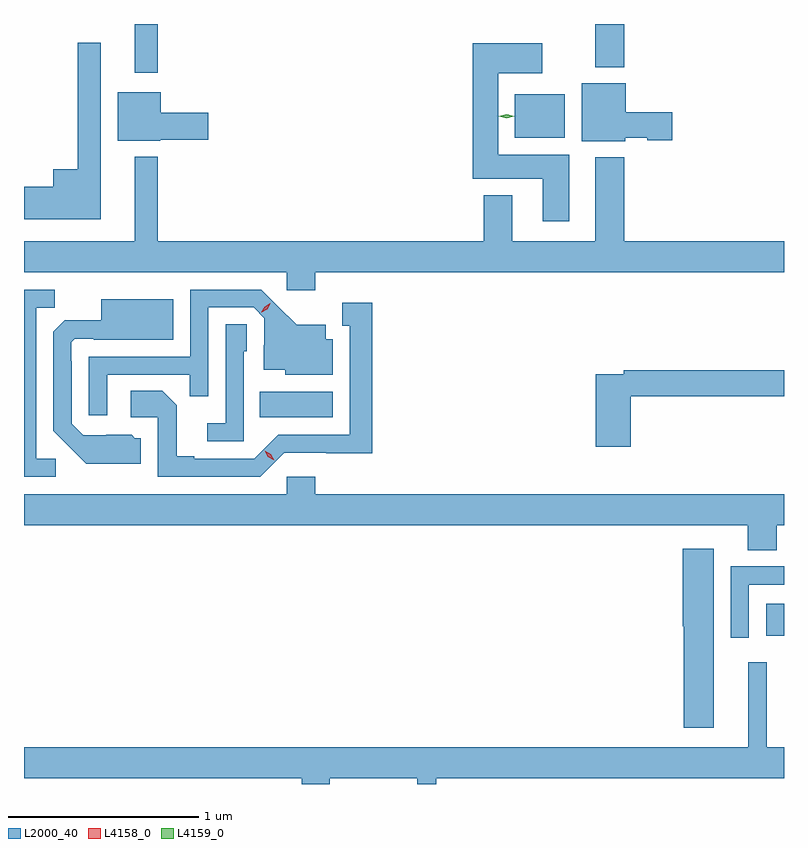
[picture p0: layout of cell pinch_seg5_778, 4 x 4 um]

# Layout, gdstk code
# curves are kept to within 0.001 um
import gdstk
lib = gdstk.Library(unit=1e-6, precision=1e-09)
def R(c, l, rs):  # rectangles x0, y0, x1, y1
    for r in rs: c.add(gdstk.rectangle(r[:2], r[2:], *l))
def P(c, l, *ps):  # polygons
    for p in ps: c.add(gdstk.Polygon(p, *l))
L2000_40 = (2000, 40)
L4158_0 = (4158, 0)
L4159_0 = (4159, 0)

pinch_seg5_778 = lib.new_cell('pinch_seg5_778')
R(pinch_seg5_778, L2000_40, [(796.265,906.794,796.358,906.964), (793.6,907.946,793.984,908.08), (794.942,909.416,795.205,909.646), (792.941,909.759,793.063,910.015), (795.365,909.788,795.518,910.015)])
P(pinch_seg5_778, L2000_40, [(792.763,909.916),(792.642,909.916),(792.642,909.25),(792.512,909.25),(792.512,909.158),(792.358,909.158),(792.358,908.987),(792.763,908.987)],
  [(795.229,909.328),(794.854,909.328),(794.854,909.755),(795.085,909.755),(795.085,909.913),(794.72,909.913),(794.72,909.2),(795.089,909.2),(795.089,908.976),(795.229,908.976)],
  [(795.522,909.416),(795.639,909.416),(795.639,909.404),(795.769,909.404),(795.769,909.551),(795.526,909.551),(795.526,909.703),(795.293,909.703),(795.293,909.398),(795.522,909.398)],
  [(793.074,909.407),(793.327,909.407),(793.327,909.549),(793.078,909.549),(793.078,909.655),(792.851,909.655),(792.851,909.401),(793.074,909.401)],
  [(793.892,908.708),(796.358,908.708),(796.358,908.872),(795.518,908.872),(795.518,909.313),(795.365,909.313),(795.365,908.872),(794.929,908.872),(794.929,909.115),(794.777,909.115),(794.777,908.872),(793.063,908.872),(793.063,909.316),(792.941,909.316),(792.941,908.872),(792.358,908.872),(792.358,908.708),(793.74,908.708),(793.74,908.613),(793.892,908.613)],
  [(792.795,908.169),(793.231,908.169),(793.231,908.056),(793.329,908.056),(793.329,908.523),(793.566,908.523),(793.623,908.466),(793.623,908.324),(793.619,908.324),(793.619,908.195),(793.734,908.195),(793.734,908.168),(793.984,908.168),(793.984,908.355),(793.945,908.355),(793.945,908.431),(793.793,908.431),(793.606,908.616),(793.233,908.616),(793.233,908.265),(792.699,908.265),(792.699,907.956),(792.795,907.956)],
  [(792.526,907.728),(792.423,907.728),(792.423,908.521),(792.519,908.521),(792.519,908.616),(792.358,908.616),(792.358,907.632),(792.526,907.632)],
  [(792.973,907.836),(792.942,907.836),(792.926,907.852),(792.669,907.851),(792.609,907.911),(792.609,908.24),(792.606,908.24),(792.606,908.34),(792.624,908.358),(792.724,908.358),(792.724,908.354),(793.144,908.354),(793.144,908.566),(792.764,908.566),(792.764,908.455),(792.572,908.455),(792.513,908.396),(792.513,907.874),(792.685,907.7),(792.973,907.7)],
  [(793.728,907.758),(794.191,907.757),(794.191,908.548),(794.033,908.548),(794.033,908.427),(794.072,908.427),(794.072,907.854),(793.695,907.854),(793.569,907.728),(793.255,907.728),(793.255,907.741),(793.161,907.741),(793.161,908.008),(793.085,908.084),(792.921,908.084),(792.921,907.944),(793.062,907.944),(793.062,907.632),(793.602,907.632)],
  [(793.515,908.292),(793.53,908.292),(793.53,908.435),(793.419,908.435),(793.419,907.915),(793.323,907.915),(793.323,907.818),(793.515,907.818)],
  [(795.551,908.056),(796.358,908.056),(796.358,908.192),(795.514,908.192),(795.514,908.172),(795.368,908.172),(795.368,907.791),(795.551,907.791)],
  [(796.319,907.376),(796.358,907.376),(796.358,907.54),(793.892,907.54),(793.892,907.633),(793.74,907.633),(793.74,907.54),(792.358,907.54),(792.358,907.376),(796.166,907.376),(796.166,907.246),(796.319,907.246)],
  [(795.988,907.252),(795.824,907.252),(795.824,906.846),(795.83,906.846),(795.83,906.312),(795.988,906.312)],
  [(796.173,907.065),(796.358,907.065),(796.358,907.161),(796.077,907.161),(796.077,906.786),(796.173,906.786)],
  [(793.968,906.044),(794.429,906.044),(794.429,906.015),(794.528,906.015),(794.528,906.044),(796.358,906.044),(796.358,906.208),(796.268,906.208),(796.268,906.655),(796.169,906.655),(796.169,906.208),(792.358,906.208),(792.358,906.044),(793.82,906.044),(793.82,906.015),(793.968,906.015)])
P(pinch_seg5_778, L4158_0, [(793.607,908.498),(793.607,908.498),(793.624,908.528),(793.655,908.544),(793.655,908.544),(793.655,908.543),(793.638,908.514),(793.608,908.498)],
  [(793.674,907.719),(793.642,907.738),(793.625,907.77),(793.625,907.77),(793.625,907.77),(793.657,907.751),(793.674,907.719),(793.674,907.719)])
P(pinch_seg5_778, L4159_0, [(794.898,909.519),(794.857,909.529),(794.857,909.529),(794.857,909.53),(794.898,909.539),(794.938,909.53),(794.938,909.529),(794.938,909.529)])

lib.write_gds('pinch_seg5_778.gds')
